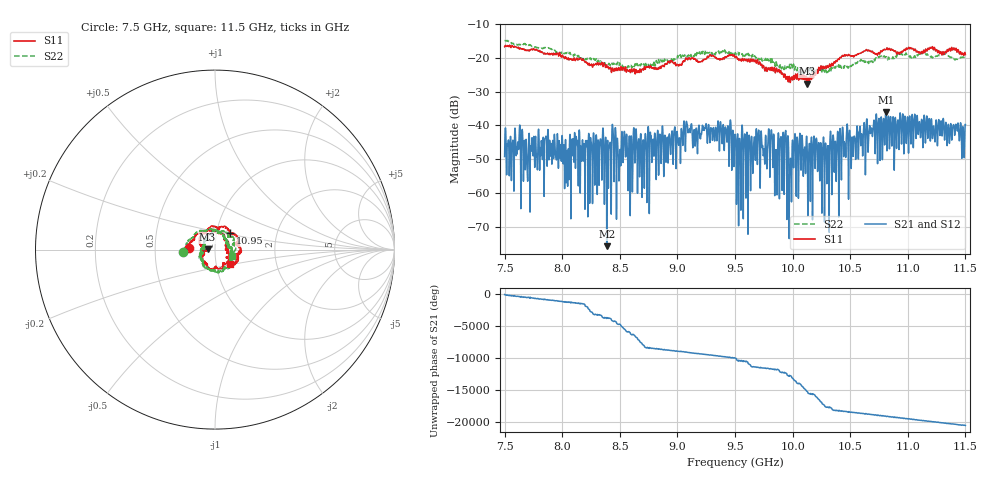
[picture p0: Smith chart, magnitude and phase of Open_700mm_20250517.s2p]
#  HZ  S  DB  R  50.00
! Rohde & Schwarz ZVA40 2Ports - Version 4.11 - 1145.1110k40 SN: 100216
! Date: 2025-05-18 21:08:13
! Measurements: S11 S21 S12 S22
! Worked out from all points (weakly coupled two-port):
!   5001 points, 7.5 GHz to 11.5 GHz, reference 50 ohm
!   highest |S21| = -36.13 dB at 10.81 GHz (marker M1); lowest = -75.8 dB at 8.386 GHz (marker M2)
!   lowest |S11| = -27.6 dB at 10.13 GHz (marker M3), VSWR 1.09, Z = 46 + j0.188 ohm
!   |S11| at or under -10 dB: start of sweep to end of sweep
!   |S22| runs from -25.2 to -14.8 dB; largest |S21 - S12| = 0.00019
!   S11 on the Smith chart (normalised r, x): 7.5 GHz: 0.74, +0.01; 10.95 GHz: 1.17, +0.22; 11.5 GHz: 1.15, -0.19
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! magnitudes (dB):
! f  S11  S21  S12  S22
! 7.5 GHz  -16.7  -49.2  -49.2  -14.9
! 8.167 GHz  -20.4  -50.5  -50.6  -20.0
! 8.386 GHz  -22.1  -75.8  -74.8  -21.9
! 8.449 GHz  -23.9  -54.0  -53.9  -21.6
! 8.49 GHz  -22.9  -51.4  -51.4  -22.2
! 8.53 GHz  -22.9  -49.4  -49.4  -22.7
! 8.591 GHz  -24.3  -60.6  -60.8  -22.5
! 8.632 GHz  -24.7  -50.9  -50.8  -21.8
! 8.834 GHz  -23.3  -45.7  -45.6  -20.7
! 9.234 GHz  -20.4  -41.5  -41.4  -18.7
! 9.5 GHz  -19.8  -42.7  -42.7  -18.5
! 9.805 GHz  -22.9  -50.6  -50.6  -20.0
! 9.848 GHz  -24.1  -49.4  -49.5  -22.3
! 9.948 GHz  -25.8  -50.1  -50.2  -22.7
! 9.988 GHz  -25.9  -55.8  -55.9  -21.9
! 10.01 GHz  -25.5  -49.9  -49.9  -22.2
! 10.13 GHz  -27.6  -47.6  -47.6  -24.1
! 10.17 GHz  -25.9  -45.4  -45.5  -24.0
! 10.81 GHz  -17.6  -36.1  -36.1  -19.7
! 10.83 GHz  -17.3  -37.5  -37.5  -19.8
! 10.95 GHz  -18.0  -42.4  -42.4  -18.7
! 11.5 GHz  -19.0  -39.7  -39.7  -19.7
